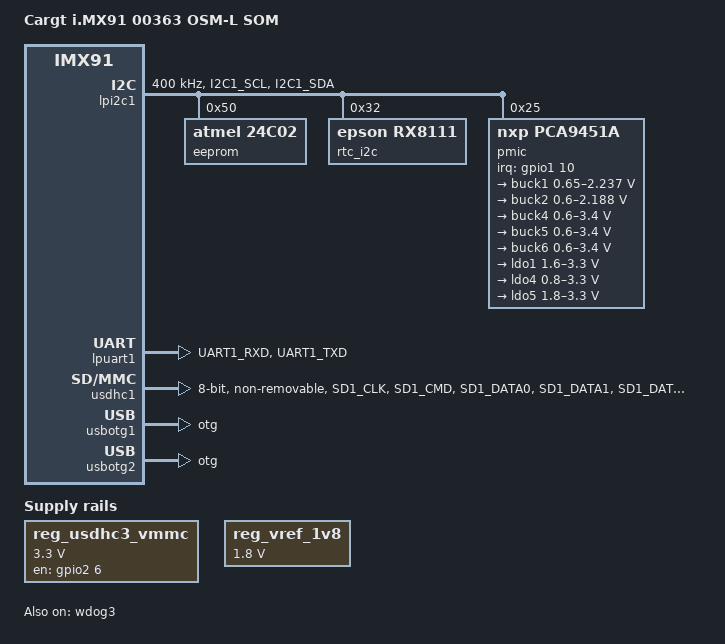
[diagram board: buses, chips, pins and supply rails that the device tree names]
// SPDX-License-Identifier: (GPL-2.0+ OR MIT)
/*
 * Copyright 2025 Cargt Inc.
 */

/dts-v1/;

#include "imx91.dtsi"

/ {
	model = "Cargt i.MX91 00363 OSM-L SOM";
	compatible = "cargt,imx91-00363", "fsl,imx91";

	chosen {
		stdout-path = &lpuart1;
	};

	reserved-memory {
		#address-cells = <2>;
		#size-cells = <2>;
		ranges;

		linux,cma {
			compatible = "shared-dma-pool";
			reusable;
			alloc-ranges = <0 0x88000000 0 0x18000000>;
			size = <0 0xc000000>;
			linux,cma-default;
		};

		ele_reserved: ele-reserved@a4120000 {
			compatible = "shared-dma-pool";
			reg = <0 0xa4120000 0 0x100000>;
			no-map;
		};
	};

	reg_usdhc3_vmmc: regulator-usdhc3 {
		pinctrl-names = "default";
		pinctrl-0 = <&pinctrl_wifi_reg>;
		compatible = "regulator-fixed";
		regulator-name = "WL_REG_ON";
		regulator-min-microvolt = <3300000>;
		regulator-max-microvolt = <3300000>;
		gpio = <&gpio2 6 GPIO_ACTIVE_HIGH>;
		startup-delay-us = <20000>;
		enable-active-high;
	};

	reg_vref_1v8: regulator-adc-vref {
		compatible = "regulator-fixed";
		regulator-name = "vref_1v8";
		regulator-min-microvolt = <1800000>;
		regulator-max-microvolt = <1800000>;
	};
};

&lpi2c1 {
	#address-cells = <1>;
	#size-cells = <0>;
	clock-frequency = <400000>;
	pinctrl-names = "default", "sleep";
	pinctrl-0 = <&pinctrl_lpi2c1>;
	pinctrl-1 = <&pinctrl_lpi2c1>;
	status = "okay";

	eeprom@50 {
		compatible = "atmel,24c02";
		reg = <0x50>;
		pagesize = <16>;
	};

	rtc_i2c: rtc@32 {
		compatible = "epson,rx8111";
		reg = <0x32>;
	};

	pmic@25 {
		compatible = "nxp,pca9451a";
		reg = <0x25>;
		pinctrl-names = "default";
		pinctrl-0 = <&pinctrl_pmic>;
		interrupt-parent = <&gpio1>;
		interrupts = <10 IRQ_TYPE_EDGE_FALLING>;

		regulators {
			buck1: BUCK1 {
				regulator-name = "BUCK1";
				regulator-min-microvolt = <650000>;
				regulator-max-microvolt = <2237500>;
				regulator-boot-on;
				regulator-always-on;
				regulator-ramp-delay = <3125>;
			};

			buck2: BUCK2 {
				regulator-name = "BUCK2";
				regulator-min-microvolt = <600000>;
				regulator-max-microvolt = <2187500>;
				regulator-boot-on;
				regulator-always-on;
				regulator-ramp-delay = <3125>;
			};

			buck4: BUCK4 {
				regulator-name = "BUCK4";
				regulator-min-microvolt = <600000>;
				regulator-max-microvolt = <3400000>;
				regulator-boot-on;
				regulator-always-on;
			};

			buck5: BUCK5 {
				regulator-name = "BUCK5";
				regulator-min-microvolt = <600000>;
				regulator-max-microvolt = <3400000>;
				regulator-boot-on;
				regulator-always-on;
			};

			buck6: BUCK6 {
				regulator-name = "BUCK6";
				regulator-min-microvolt = <600000>;
				regulator-max-microvolt = <3400000>;
				regulator-boot-on;
				regulator-always-on;
			};

			ldo1: LDO1 {
				regulator-name = "LDO1";
				regulator-min-microvolt = <1600000>;
				regulator-max-microvolt = <3300000>;
				regulator-boot-on;
				regulator-always-on;
			};

			ldo4: LDO4 {
				regulator-name = "LDO4";
				regulator-min-microvolt = <800000>;
				regulator-max-microvolt = <3300000>;
				regulator-boot-on;
				regulator-always-on;
			};

			ldo5: LDO5 {
				regulator-name = "LDO5";
				regulator-min-microvolt = <1800000>;
				regulator-max-microvolt = <3300000>;
				regulator-boot-on;
				regulator-always-on;
			};
		};
	};
};

&lpuart1 {
	pinctrl-names = "default";
	pinctrl-0 = <&pinctrl_uart1>;
	status = "okay";
};

&usdhc1 {
	pinctrl-names = "default", "state_100mhz", "state_200mhz";
	pinctrl-0 = <&pinctrl_usdhc1>;
	pinctrl-1 = <&pinctrl_usdhc1>;
	pinctrl-2 = <&pinctrl_usdhc1>;
	bus-width = <8>;
	non-removable;
	status = "okay";
};

&usbotg1 {
	dr_mode = "otg";
	disable-over-current;
	samsung,picophy-pre-emp-curr-control = <3>;
	samsung,picophy-dc-vol-level-adjust = <7>;
	status = "okay";
};

&usbotg2 {
	dr_mode = "otg";
	disable-over-current;
	samsung,picophy-pre-emp-curr-control = <3>;
	samsung,picophy-dc-vol-level-adjust = <7>;
	status = "okay";
};

&wdog3 {
	status = "okay";
};

&iomuxc {
	pinctrl_lpi2c1: lpi2c1grp {
		fsl,pins = <
			MX91_PAD_I2C1_SCL__LPI2C1_SCL			0x40000b9e
			MX91_PAD_I2C1_SDA__LPI2C1_SDA			0x40000b9e
		>;
	};

	pinctrl_uart1: uart1grp {
		fsl,pins = <
			MX91_PAD_UART1_RXD__LPUART1_RX			0x31e
			MX91_PAD_UART1_TXD__LPUART1_TX			0x31e
		>;
	};

	pinctrl_usdhc1: usdhc1grp {
		fsl,pins = <
			MX91_PAD_SD1_CLK__USDHC1_CLK			0x159e
			MX91_PAD_SD1_CMD__USDHC1_CMD			0x139e
			MX91_PAD_SD1_DATA0__USDHC1_DATA0		0x139e
			MX91_PAD_SD1_DATA1__USDHC1_DATA1		0x139e
			MX91_PAD_SD1_DATA2__USDHC1_DATA2		0x139e
			MX91_PAD_SD1_DATA3__USDHC1_DATA3		0x139e
			MX91_PAD_SD1_DATA4__USDHC1_DATA4		0x139e
			MX91_PAD_SD1_DATA5__USDHC1_DATA5		0x139e
			MX91_PAD_SD1_DATA6__USDHC1_DATA6		0x139e
			MX91_PAD_SD1_DATA7__USDHC1_DATA7		0x139e
			MX91_PAD_SD1_STROBE__USDHC1_STROBE		0x159e
		>;
	};

	pinctrl_wifi_reg: wifireggrp {
		fsl,pins = <
			MX91_PAD_GPIO_IO06__GPIO2_IO6			0x31e /* WL_REG_ON */
		>;
	};

	pinctrl_pmic: pmicgrp {
		fsl,pins = <
			MX91_PAD_PDM_BIT_STREAM1__GPIO1_IO10		0x31e /* PMIC_IRQ_B */
		>;
	};

	pinctrl_rtc: rtcgrp {
		fsl,pins = <
			MX91_PAD_GPIO_IO07__GPIO2_IO7			0x31e /* RTC_nINT */
		>;
	};
};
